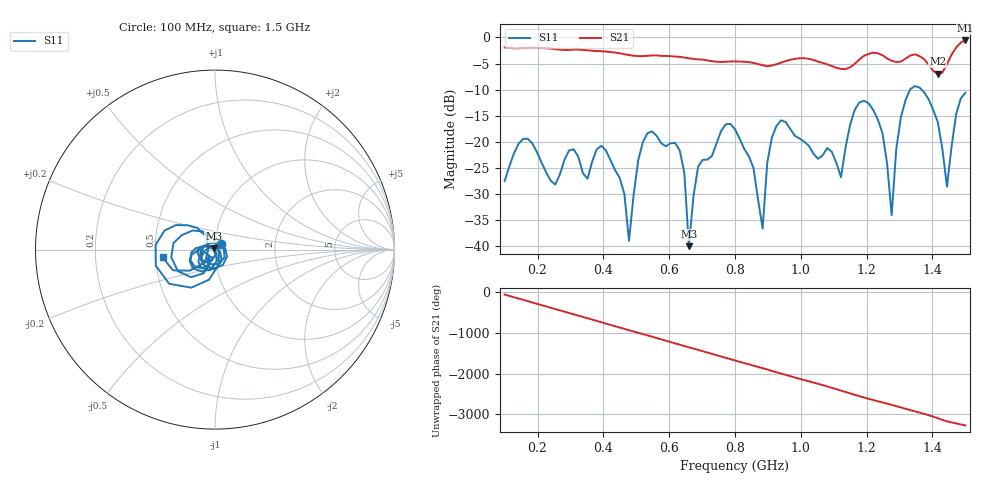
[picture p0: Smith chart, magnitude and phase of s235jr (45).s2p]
! NanoVNA-App
! Date: 2025-09-25 15:04:30
! Start: 100MHz Stop: 1,5GHz Points: 101
! S-Parameter data: F S11 S21 S12 S22
# Hz S RI R 50
!  Frequency  S11_Real  S11_Imag  S21_Real  S21_Imag  S12_Real  S12_Imag  S22_Real  S22_Imag
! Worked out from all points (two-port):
!   101 points, 100 MHz to 1.5 GHz, reference 50 ohm
!   highest |S21| = -0.59 dB at 1.5 GHz (marker M1); lowest = -7.0 dB at 1.416 GHz (marker M2)
!   |S21| within 3 dB of the highest: start of sweep to 602 MHz; 1.191 GHz to 1.252 GHz (61.43 MHz wide, 5.03 % of centre) (the widest 2 of 4)
!   lowest |S11| = -39.9 dB at 660 MHz (marker M3), VSWR 1.02, Z = 49.3 + j0.663 ohm
!   |S11| at or under -10 dB: start of sweep to 1.332 GHz; 1.367 GHz to end of sweep
!   S12 and S22 are empty: the file has one direction only
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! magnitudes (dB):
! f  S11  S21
! 100 MHz  -27.5  -2.0
! 156 MHz  -19.4  -2.0
! 338 MHz  -26.0  -2.4
! 408 MHz  -21.7  -2.7
! 478 MHz  -38.9  -3.4
! 520 MHz  -20.0  -3.6
! 576 MHz  -20.3  -3.5
! 632 MHz  -21.6  -3.7
! 660 MHz  -39.9  -4.0
! 688 MHz  -24.7  -4.2
! 800 MHz  -17.6  -4.6
! 884 MHz  -36.5  -5.3
! 926 MHz  -16.9  -5.1
! 1.038 GHz  -22.2  -4.3
! 1.122 GHz  -26.8  -6.0
! 1.206 GHz  -12.6  -3.2
! 1.248 GHz  -18.3  -3.4
! 1.276 GHz  -34.0  -4.5
! 1.332 GHz  -9.9  -3.5
! 1.416 GHz  -16.1  -7.0
! 1.444 GHz  -28.5  -5.1
! 1.5 GHz  -10.6  -0.6
